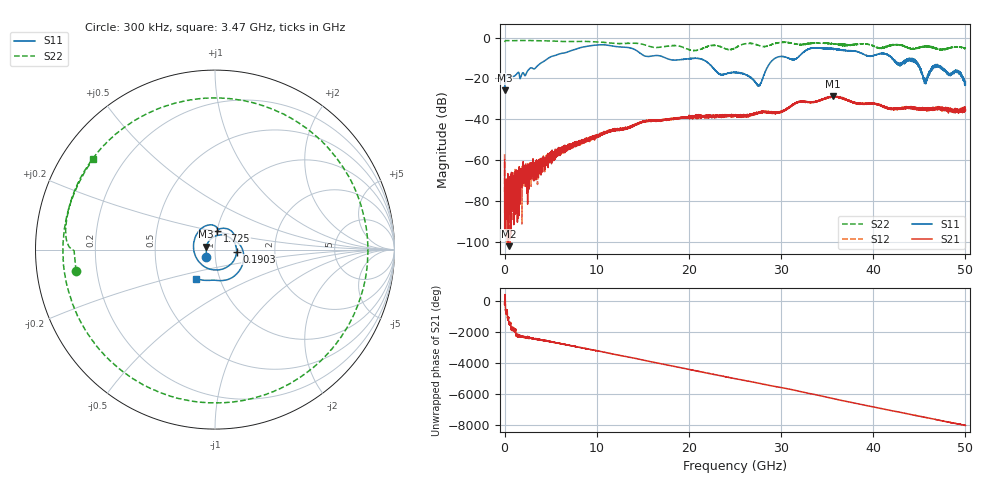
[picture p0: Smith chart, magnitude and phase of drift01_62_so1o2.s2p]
!Created with skrf (http://scikit-rf.org).
# Hz S RI R 50.0
!freq ReS11 ImS11 ReS21 ImS21 ReS12 ImS12 ReS22 ImS22
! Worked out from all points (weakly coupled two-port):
!   10001 points, 300 kHz to 50 GHz, reference 50 ohm
!   highest |S21| = -28.70 dB at 35.63 GHz (marker M1); lowest = -102.3 dB at 425.3 MHz (marker M2)
!   lowest |S11| = -25.8 dB at 5.3 MHz (marker M3), VSWR 1.11, Z = 45.3 + j1.42 ohm
!   |S11| at or under -10 dB: start of sweep to 4.766 GHz; 17.51 GHz to 29.38 GHz (11.87 GHz wide, 50.6 % of centre); 42.05 GHz to end of sweep (the widest 3 of 8)
!   |S22| runs from -6.4 to -1.4 dB; largest |S21 - S12| = 0.0047
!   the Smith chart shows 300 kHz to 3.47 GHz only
!   S11 on the Smith chart (normalised r, x): 300 kHz: 0.91, -0.07; 190.3 MHz: 1.27, -0.03; 1.725 GHz: 1.00, +0.21; 3.47 GHz: 0.77, -0.26
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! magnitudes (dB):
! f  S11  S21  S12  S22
! 300 kHz  -24.1  -59.9  -57.1  -2.1
! 5.3 MHz  -25.8  -73.4  -73.6  -2.1
! 190.3 MHz  -18.4  -80.0  -94.3  -1.4
! 425.3 MHz  -18.5  -102.3  -80.1  -1.4
! 1.725 GHz  -19.8  -73.0  -65.7  -1.4
! 3.47 GHz  -14.3  -63.1  -63.2  -1.5
! 8.335 GHz  -4.8  -51.1  -50.6  -1.8
! 16.67 GHz  -8.7  -40.5  -40.7  -4.8
! 21.21 GHz  -10.3  -39.1  -38.6  -5.8
! 23.39 GHz  -18.0  -38.6  -38.3  -4.3
! 25 GHz  -17.0  -38.4  -38.1  -5.0
! 27.59 GHz  -23.5  -36.8  -36.7  -3.8
! 29.3 GHz  -10.3  -36.5  -36.5  -2.9
! 31.47 GHz  -10.7  -32.2  -32.4  -2.9
! 33.34 GHz  -5.1  -31.7  -31.7  -2.7
! 35.63 GHz  -5.5  -28.7  -28.9  -2.9
! 41.67 GHz  -8.6  -34.8  -34.8  -4.1
! 42.82 GHz  -13.1  -34.7  -34.9  -3.5
! 44.51 GHz  -11.4  -34.7  -34.5  -5.3
! 45.63 GHz  -20.5  -34.5  -35.0  -4.3
! 46.96 GHz  -13.3  -34.8  -34.7  -5.5
! 50 GHz  -21.5  -35.4  -35.2  -5.2
